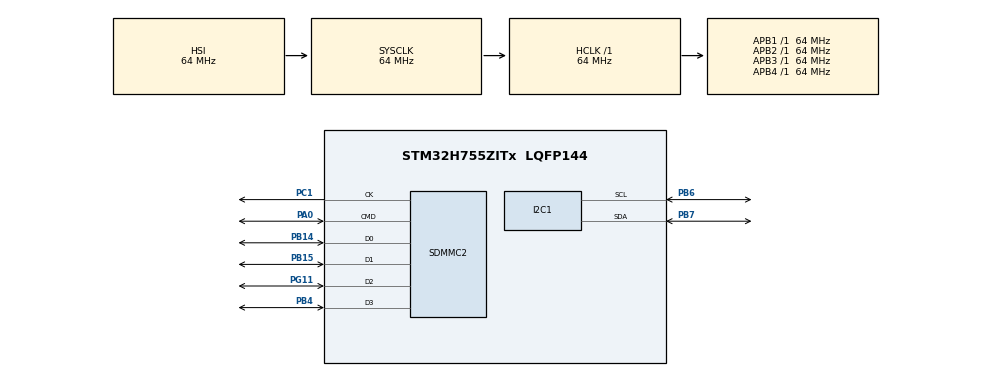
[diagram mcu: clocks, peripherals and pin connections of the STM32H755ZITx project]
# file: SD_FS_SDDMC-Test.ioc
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CORTEX_M7.default_mode_Activation=1
CortexM4.IPs=CORTEX_M4\:I,FATFS_M4\:I,FREERTOS_M4\:I,IWDG2\:I,OPENAMP_M4\:I,PDM2PCM_M4\:I,PWR,RCC,RESMGR_UTILITY,SYS_M4\:I,USB_DEVICE_M4\:I,USB_HOST_M4\:I,VREFBUF,WWDG2\:I,GPIO,DMA,BDMA,MDMA,NVIC2\:I
CortexM7.IPs=CORTEX_M7\:I,FATFS_M7\:I,FREERTOS_M7\:I,IWDG1\:I,OPENAMP_M7\:I,PDM2PCM_M7\:I,PWR\:I,RCC\:I,RESMGR_UTILITY\:I,SYS\:I,USB_DEVICE_M7\:I,USB_HOST_M7\:I,VREFBUF\:I,WWDG1\:I,GPIO\:I,DMA\:I,BDMA\:I,MDMA\:I,NVIC1\:I,SDMMC2\:I,I2C1\:I
FATFS_M7.USE_DMA_CODE_SD=1
Mcu.Family=STM32H7
Mcu.Name=STM32H755ZITx
Mcu.Package=LQFP144
NVIC1.PriorityGroup=NVIC_PRIORITYGROUP_4
NVIC1.SDMMC2_IRQn=true\:0\:0\:false\:false\:true\:true\:true\:true
NVIC2.PriorityGroup=NVIC_PRIORITYGROUP_4
PA0.Mode=SD_4_bits_Wide_bus
PA0.PinAttribute=CortexM7
PA0.Signal=SDMMC2_CMD
PB14.Mode=SD_4_bits_Wide_bus
PB14.PinAttribute=CortexM7
PB14.Signal=SDMMC2_D0
PB15.Mode=SD_4_bits_Wide_bus
PB15.PinAttribute=CortexM7
PB15.Signal=SDMMC2_D1
PB4\ (NJTRST).Mode=SD_4_bits_Wide_bus
PB4\ (NJTRST).PinAttribute=CortexM7
PB4\ (NJTRST).Signal=SDMMC2_D3
PB6.Mode=I2C
PB6.PinAttribute=CortexM7
PB6.Signal=I2C1_SCL
PB7.Mode=I2C
PB7.PinAttribute=CortexM7
PB7.Signal=I2C1_SDA
PC1.Mode=SD_4_bits_Wide_bus
PC1.PinAttribute=CortexM7
PC1.Signal=SDMMC2_CK
PG11.Mode=SD_4_bits_Wide_bus
PG11.PinAttribute=CortexM7
PG11.Signal=SDMMC2_D2
ProjectManager.HeapSize=M4-0x200,M7-0x400
ProjectManager.StackSize=M4-0x400,M7-0x800
ProjectManager.TargetToolchain=STM32CubeIDE
RCC.ADCFreq_Value=129000000
RCC.APB1Freq_Value=64000000
RCC.APB2Freq_Value=64000000
RCC.APB3Freq_Value=64000000
RCC.APB4Freq_Value=64000000
RCC.CortexFreq_Value=64000000
RCC.DIVM1=4
RCC.DIVN1=9
RCC.HCLKFreq_Value=64000000
RCC.PLLFRACN=3072
RCC.SYSCLKFreq_VALUE=64000000
RCC.USBFreq_Value=75000000
SYS.userName=SYS_M7
VP_FATFS_M7_VS_SDIO.Mode=SDIO
VP_SYS_M4_VS_Systick.Mode=SysTick
board=custom

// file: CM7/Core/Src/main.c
/* USER CODE BEGIN Header */
/**
  ******************************************************************************
  * @file           : main.c
  * @brief          : Main program body
  ******************************************************************************
  * @attention
  *
  * Copyright (c) 2026 STMicroelectronics.
  * All rights reserved.
  *
  * This software is licensed under terms that can be found in the LICENSE file
  * in the root directory of this software component.
  * If no LICENSE file comes with this software, it is provided AS-IS.
  *
  ******************************************************************************
  */
/* USER CODE END Header */
#include "main.h"
#include "fatfs.h"
#include "i2c.h"
#include "sdmmc.h"
#include "gpio.h"

/* USER CODE BEGIN PD */

/* DUAL_CORE_BOOT_SYNC_SEQUENCE: Define for dual core boot synchronization    */
/*                             demonstration code based on hardware semaphore */
/* This define is present in both CM7/CM4 projects                            */
/* To comment when developping/debugging on a single core                     */
#define DUAL_CORE_BOOT_SYNC_SEQUENCE

#if defined(DUAL_CORE_BOOT_SYNC_SEQUENCE)
#ifndef HSEM_ID_0
#define HSEM_ID_0 (0U) /* HW semaphore 0*/
#endif
#endif /* DUAL_CORE_BOOT_SYNC_SEQUENCE */

/* USER CODE END PD */

void SystemClock_Config(void);
static void MPU_Config(void);

int main(void)
{

  /* USER CODE BEGIN 1 */
	FRESULT res;
	uint32_t byteswritten, bytesread;
	uint8_t wtext[] = "STM32 FATFS works great!";
	uint8_t rtext[_MAX_SS];

  /* USER CODE END 1 */
/* USER CODE BEGIN Boot_Mode_Sequence_0 */
#if defined(DUAL_CORE_BOOT_SYNC_SEQUENCE)
  int32_t timeout;
#endif /* DUAL_CORE_BOOT_SYNC_SEQUENCE */
/* USER CODE END Boot_Mode_Sequence_0 */

  /* MPU Configuration--------------------------------------------------------*/
  MPU_Config();

/* USER CODE BEGIN Boot_Mode_Sequence_1 */
#if defined(DUAL_CORE_BOOT_SYNC_SEQUENCE)
  /* Wait until CPU2 boots and enters in stop mode or timeout*/
  timeout = 0xFFFF;
  while((__HAL_RCC_GET_FLAG(RCC_FLAG_D2CKRDY) != RESET) && (timeout-- > 0));
  if ( timeout < 0 )
  {
  Error_Handler();
  }
#endif /* DUAL_CORE_BOOT_SYNC_SEQUENCE */
/* USER CODE END Boot_Mode_Sequence_1 */
  /* MCU Configuration--------------------------------------------------------*/

  /* Reset of all peripherals, Initializes the Flash interface and the Systick. */
  HAL_Init();

  /* Configure the system clock */
  SystemClock_Config();
/* USER CODE BEGIN Boot_Mode_Sequence_2 */
#if defined(DUAL_CORE_BOOT_SYNC_SEQUENCE)
/* When system initialization is finished, Cortex-M7 will release Cortex-M4 by means of
HSEM notification */
/*HW semaphore Clock enable*/
__HAL_RCC_HSEM_CLK_ENABLE();
/*Take HSEM */
HAL_HSEM_FastTake(HSEM_ID_0);
/*Release HSEM in order to notify the CPU2(CM4)*/
HAL_HSEM_Release(HSEM_ID_0,0);
/* wait until CPU2 wakes up from stop mode */
timeout = 0xFFFF;
while((__HAL_RCC_GET_FLAG(RCC_FLAG_D2CKRDY) == RESET) && (timeout-- > 0));
if ( timeout < 0 )
{
Error_Handler();
}
#endif /* DUAL_CORE_BOOT_SYNC_SEQUENCE */
/* USER CODE END Boot_Mode_Sequence_2 */

  /* Initialize all configured peripherals */
  MX_GPIO_Init();
  MX_SDMMC2_SD_Init();
  MX_FATFS_Init();
  MX_I2C1_Init();
  /* USER CODE BEGIN 2 */

  if(f_mount(&SDFatFS, (TCHAR const*)SDPath, 0) != FR_OK)
  {
	  Error_Handler();
  }
  else
  {
	  if(f_mkfs((TCHAR const*)SDPath, FM_ANY, 0, rtext, sizeof(rtext)) != FR_OK){
		  Error_Handler();
	  }
	  else
	  {
		  if(f_open(&SDFile, "STM32.TXT", FA_CREATE_ALWAYS | FA_WRITE) != FR_OK)
		  {
			  Error_Handler();
		  }

	  }
  }

  /* USER CODE END 2 */

  /* Infinite loop */
  while (1)
  {

  }
}

void SystemClock_Config(void)
{
  RCC_OscInitTypeDef RCC_OscInitStruct = {0};
  RCC_ClkInitTypeDef RCC_ClkInitStruct = {0};

  /** Supply configuration update enable
  */
  HAL_PWREx_ConfigSupply(PWR_DIRECT_SMPS_SUPPLY);

  /** Configure the main internal regulator output voltage
  */
  __HAL_PWR_VOLTAGESCALING_CONFIG(PWR_REGULATOR_VOLTAGE_SCALE3);

  while(!__HAL_PWR_GET_FLAG(PWR_FLAG_VOSRDY)) {}

  /** Initializes the RCC Oscillators according to the specified parameters
  * in the RCC_OscInitTypeDef structure.
  */
  RCC_OscInitStruct.OscillatorType = RCC_OSCILLATORTYPE_HSI;
  RCC_OscInitStruct.HSIState = RCC_HSI_DIV1;
  RCC_OscInitStruct.HSICalibrationValue = RCC_HSICALIBRATION_DEFAULT;
  RCC_OscInitStruct.PLL.PLLState = RCC_PLL_ON;
  RCC_OscInitStruct.PLL.PLLSource = RCC_PLLSOURCE_HSI;
  RCC_OscInitStruct.PLL.PLLM = 4;
  RCC_OscInitStruct.PLL.PLLN = 9;
  RCC_OscInitStruct.PLL.PLLP = 2;
  RCC_OscInitStruct.PLL.PLLQ = 2;
  RCC_OscInitStruct.PLL.PLLR = 2;
  RCC_OscInitStruct.PLL.PLLRGE = RCC_PLL1VCIRANGE_3;
  RCC_OscInitStruct.PLL.PLLVCOSEL = RCC_PLL1VCOMEDIUM;
  RCC_OscInitStruct.PLL.PLLFRACN = 3072;
  if (HAL_RCC_OscConfig(&RCC_OscInitStruct) != HAL_OK)
  {
    Error_Handler();
  }

  /** Initializes the CPU, AHB and APB buses clocks
  */
  RCC_ClkInitStruct.ClockType = RCC_CLOCKTYPE_HCLK|RCC_CLOCKTYPE_SYSCLK
                              |RCC_CLOCKTYPE_PCLK1|RCC_CLOCKTYPE_PCLK2
                              |RCC_CLOCKTYPE_D3PCLK1|RCC_CLOCKTYPE_D1PCLK1;
  RCC_ClkInitStruct.SYSCLKSource = RCC_SYSCLKSOURCE_HSI;
  RCC_ClkInitStruct.SYSCLKDivider = RCC_SYSCLK_DIV1;
  RCC_ClkInitStruct.AHBCLKDivider = RCC_HCLK_DIV1;
  RCC_ClkInitStruct.APB3CLKDivider = RCC_APB3_DIV1;
  RCC_ClkInitStruct.APB1CLKDivider = RCC_APB1_DIV1;
  RCC_ClkInitStruct.APB2CLKDivider = RCC_APB2_DIV1;
  RCC_ClkInitStruct.APB4CLKDivider = RCC_APB4_DIV1;

  if (HAL_RCC_ClockConfig(&RCC_ClkInitStruct, FLASH_LATENCY_1) != HAL_OK)
  {
    Error_Handler();
  }
}

 /* MPU Configuration */

void MPU_Config(void)
{
  MPU_Region_InitTypeDef MPU_InitStruct = {0};

  /* Disables the MPU */
  HAL_MPU_Disable();

  /** Initializes and configures the Region and the memory to be protected
  */
  MPU_InitStruct.Enable = MPU_REGION_ENABLE;
  MPU_InitStruct.Number = MPU_REGION_NUMBER0;
  MPU_InitStruct.BaseAddress = 0x0;
  MPU_InitStruct.Size = MPU_REGION_SIZE_4GB;
  MPU_InitStruct.SubRegionDisable = 0x87;
  MPU_InitStruct.TypeExtField = MPU_TEX_LEVEL0;
  MPU_InitStruct.AccessPermission = MPU_REGION_NO_ACCESS;
  MPU_InitStruct.DisableExec = MPU_INSTRUCTION_ACCESS_DISABLE;
  MPU_InitStruct.IsShareable = MPU_ACCESS_SHAREABLE;
  MPU_InitStruct.IsCacheable = MPU_ACCESS_NOT_CACHEABLE;
  MPU_InitStruct.IsBufferable = MPU_ACCESS_NOT_BUFFERABLE;

  HAL_MPU_ConfigRegion(&MPU_InitStruct);
  /* Enables the MPU */
  HAL_MPU_Enable(MPU_PRIVILEGED_DEFAULT);

}

void Error_Handler(void)
{
  __disable_irq();
  while (1)
  {
  }
}
